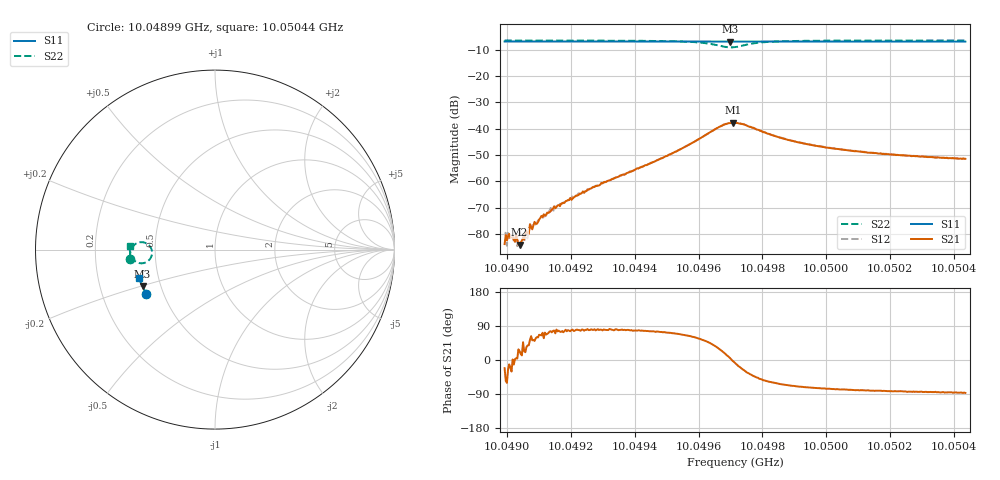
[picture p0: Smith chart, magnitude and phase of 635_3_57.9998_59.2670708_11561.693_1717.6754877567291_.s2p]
#  HZ  S  RI  R  50.00
! Rohde & Schwarz Vector Network Analyzer
! Rohde-Schwarz,ZNB20-2Port,1311601062101988,3.16
! Created: UTC 3/21/2024, 1:18:49 AM
! freq[Hz]  re:S11  im:S11  re:S21  im:S21  re:S12  im:S12  re:S22  im:S22
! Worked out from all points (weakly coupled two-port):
!   401 points, 10.04899 GHz to 10.05044 GHz, reference 50 ohm
!   highest |S21| = -37.73 dB at 10.04971 GHz (marker M1); lowest = -84.2 dB at 10.04904 GHz (marker M2)
!   lowest |S11| = -6.9 dB at 10.0497 GHz (marker M3), VSWR 2.65, Z = 19.8 - j10.2 ohm
!   |S11| at or under -10 dB: nowhere
!   |S22| runs from -9.1 to -6.5 dB; largest |S21 - S12| = 0.0011
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1.0048992e10  -0.3826 -0.2463  5.93e-05 -2.35e-05  7.15e-05 -7.63e-05  -0.4731 -0.0501
1.0049039e10  -0.3842 -0.2436  5.68e-05 2.46e-05  0.000109 7.66e-06  -0.4733 -0.0463
1.0049057e10  -0.3848 -0.2424  9.93e-05 3.75e-05  7.85e-05 6.12e-05  -0.4734 -0.0446
1.0049071e10  -0.3853 -0.2417  9.2e-05 0.000122  8.87e-05 8.95e-05  -0.4733 -0.0433
1.0049079e10  -0.3855 -0.2413  7.51e-05 9.59e-05  5.08e-05 0.000138  -0.4735 -0.0426
1.0049107e10  -0.3866 -0.2395  9.23e-05 0.000199  4.3e-05 0.000189  -0.4734 -0.0399
1.0049133e10  -0.3874 -0.2382  6.65e-05 0.000248  9.36e-05 0.000258  -0.4733 -0.0377
1.0049154e10  -0.3881 -0.2371  5.47e-05 0.000318  5.84e-05 0.000331  -0.4733 -0.0358
1.0049234e10  -0.3907 -0.2324  9.88e-05 0.000587  9.82e-05 0.000589  -0.473 -0.0279
1.0049476e10  -0.3981 -0.218  0.000689 0.0025  0.000539 0.00256  -0.4648 0.00551
1.0049548e10  -0.4002 -0.2137  0.00165 0.00387  0.00144 0.00394  -0.4539 0.022
1.0049639e10  -0.4025 -0.2081  0.00634 0.00603  0.00593 0.00635  -0.4058 0.0416
1.0049678e10  -0.4031 -0.2058  0.0111 0.0042  0.0107 0.00485  -0.3635 0.0195
1.00497e10  -0.4033 -0.2048  0.0128 0.000892  0.0126 0.0018  -0.3508 -0.0125
1.0049707e10  -0.4035 -0.2045  0.013 -0.00055  0.013 0.000595  -0.3509 -0.0247
1.0049714e10  -0.4037 -0.2043  0.0127 -0.00169  0.0129 -0.000823  -0.3537 -0.0363
1.0049747e10  -0.4048 -0.2028  0.0102 -0.00579  0.0106 -0.00511  -0.3847 -0.0708
1.0049805e10  -0.407 -0.1996  0.00504 -0.00689  0.00562 -0.00657  -0.4351 -0.0707
1.0049877e10  -0.4092 -0.1952  0.0025 -0.00567  0.00288 -0.00558  -0.4593 -0.0509
1.0049957e10  -0.4114 -0.1904  0.0014 -0.00464  0.00173 -0.00459  -0.4685 -0.0342
1.0050199e10  -0.4175 -0.1755  0.00043 -0.00321  0.000638 -0.00321  -0.4748 -0.00276
1.0050437e10  -0.423 -0.1609  0.000147 -0.00266  0.000313 -0.00266  -0.4753 0.0186
